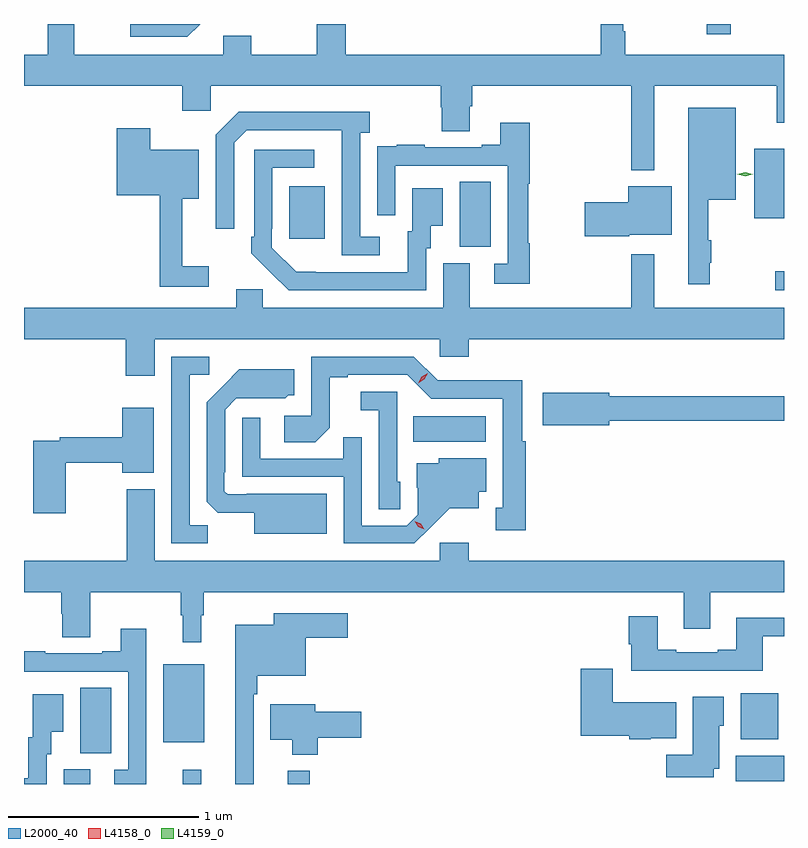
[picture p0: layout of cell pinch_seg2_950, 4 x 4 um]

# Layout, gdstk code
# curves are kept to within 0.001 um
import gdstk
lib = gdstk.Library(unit=1e-6, precision=1e-09)
def R(c, l, rs):  # rectangles x0, y0, x1, y1
    for r in rs: c.add(gdstk.rectangle(r[:2], r[2:], *l))
def P(c, l, *ps):  # polygons
    for p in ps: c.add(gdstk.Polygon(p, *l))
L2000_40 = (2000, 40)
L4158_0 = (4158, 0)
L4159_0 = (4159, 0)

pinch_seg2_950 = lib.new_cell('pinch_seg2_950')
R(pinch_seg2_950, L2000_40, [(322.673,638.634,322.813,638.712), (323.3,638.634,323.399,638.71), (323.852,638.634,323.969,638.704), (326.21,638.648,326.465,638.782), (322.76,638.797,322.924,639.14), (323.198,638.855,323.413,639.265), (326.237,638.87,326.434,639.112), (324.514,640.436,324.895,640.57), (326.418,641.232,326.465,641.333), (324.758,641.461,324.922,641.804), (323.861,641.505,324.049,641.779), (326.309,641.612,326.465,641.977), (326.058,642.579,326.186,642.634)])
P(pinch_seg2_950, L2000_40, [(325.783,642.308),(326.426,642.308),(326.426,642.114),(326.465,642.114),(326.465,642.472),(325.63,642.472),(325.63,642.596),(325.618,642.596),(325.618,642.634),(325.501,642.634),(325.501,642.472),(324.158,642.472),(324.158,642.634),(324.005,642.634),(324.005,642.472),(323.661,642.472),(323.661,642.571),(323.513,642.571),(323.513,642.472),(322.729,642.472),(322.729,642.634),(322.589,642.634),(322.589,642.472),(322.465,642.472),(322.465,642.308),(323.297,642.308),(323.297,642.177),(323.448,642.177),(323.448,642.308),(324.659,642.308),(324.659,642.195),(324.664,642.195),(324.664,642.07),(324.811,642.07),(324.811,642.202),(324.824,642.202),(324.824,642.308),(325.662,642.308),(325.662,641.864),(325.783,641.864)],
  [(323.392,642.634),(323.025,642.634),(323.025,642.567),(323.325,642.567)],
  [(326.075,641.377),(326.083,641.377),(326.083,641.495),(326.065,641.495),(326.065,641.708),(326.212,641.708),(326.212,642.193),(325.961,642.193),(325.961,641.265),(326.075,641.265)],
  [(324.337,641.514),(324.234,641.514),(324.234,642.062),(324.286,642.062),(324.286,642.172),(323.596,642.172),(323.475,642.051),(323.475,641.556),(323.571,641.556),(323.571,642.009),(323.637,642.075),(324.137,642.075),(324.138,641.418),(324.337,641.418)],
  [(325.127,641.48),(325.12,641.48),(325.12,641.792),(325.127,641.792),(325.127,642.115),(324.971,642.115),(324.971,641.998),(324.875,641.998),(324.875,641.985),(324.575,641.985),(324.575,641.998),(324.427,641.998),(324.427,641.991),(324.325,641.991),(324.325,641.882),(324.324,641.882),(324.324,641.628),(324.42,641.628),(324.42,641.889),(325.011,641.889),(325.011,641.373),(324.939,641.373),(324.939,641.268),(325.127,641.268)],
  [(323.437,641.359),(323.297,641.359),(323.297,641.714),(323.386,641.714),(323.386,641.971),(323.13,641.971),(323.13,642.085),(322.952,642.085),(322.952,641.732),(323.179,641.732),(323.179,641.25),(323.437,641.25)],
  [(324.582,641.454),(324.607,641.454),(324.607,641.573),(324.67,641.573),(324.67,641.77),(324.509,641.77),(324.509,641.544),(324.485,641.544),(324.485,641.328),(323.898,641.329),(323.769,641.457),(323.769,641.557),(323.772,641.557),(323.772,641.877),(323.992,641.877),(323.992,641.973),(323.676,641.973),(323.676,641.515),(323.661,641.515),(323.661,641.427),(323.858,641.232),(324.582,641.232)],
  [(325.65,641.525),(325.873,641.525),(325.873,641.779),(325.646,641.779),(325.646,641.696),(325.416,641.696),(325.416,641.518),(325.65,641.518)],
  [(323.152,640.976),(324.654,640.976),(324.654,640.883),(324.806,640.883),(324.806,640.976),(326.465,640.976),(326.465,641.14),(325.783,641.14),(325.783,641.422),(325.662,641.422),(325.662,641.14),(324.811,641.14),(324.811,641.376),(324.671,641.376),(324.671,641.14),(323.721,641.14),(323.721,641.238),(323.582,641.238),(323.582,641.14),(322.465,641.14),(322.465,640.976),(323,640.976),(323,640.782),(323.152,640.782)],
  [(323.433,639.995),(323.337,639.995),(323.337,640.788),(323.44,640.788),(323.44,640.884),(323.241,640.884),(323.241,639.9),(323.433,639.9)],
  [(325.105,640.439),(325.087,640.439),(325.087,640.76),(324.864,640.76),(324.864,640.758),(324.642,640.758),(324.516,640.884),(323.976,640.884),(323.976,640.572),(323.835,640.572),(323.835,640.432),(323.999,640.432),(324.075,640.508),(324.075,640.776),(324.169,640.776),(324.169,640.788),(324.483,640.788),(324.609,640.662),(324.986,640.662),(324.986,640.089),(324.947,640.089),(324.947,639.969),(325.105,639.969)],
  [(324.058,640.162),(323.638,640.162),(323.638,640.158),(323.538,640.158),(323.52,640.176),(323.52,640.276),(323.523,640.276),(323.523,640.605),(323.583,640.665),(323.84,640.664),(323.856,640.68),(323.887,640.68),(323.887,640.816),(323.599,640.816),(323.427,640.642),(323.427,640.12),(323.486,640.061),(323.678,640.061),(323.678,639.95),(324.058,639.95)],
  [(324.444,640.224),(324.429,640.224),(324.429,640.698),(324.237,640.698),(324.237,640.601),(324.333,640.601),(324.333,640.081),(324.444,640.081)],
  [(325.546,640.546),(326.465,640.546),(326.465,640.675),(325.546,640.675),(325.546,640.693),(325.194,640.693),(325.194,640.523),(325.546,640.523)],
  [(322.686,640.324),(322.982,640.324),(322.982,640.271),(323.149,640.271),(323.149,640.615),(322.982,640.615),(322.982,640.46),(322.654,640.46),(322.654,640.44),(322.513,640.44),(322.513,640.059),(322.686,640.059)],
  [(324.604,639.983),(324.707,640.085),(324.859,640.085),(324.859,640.172),(324.898,640.172),(324.898,640.348),(324.648,640.348),(324.648,640.321),(324.533,640.321),(324.533,640.192),(324.537,640.192),(324.537,640.05),(324.48,639.993),(324.243,639.993),(324.243,640.46),(324.145,640.46),(324.145,640.347),(323.709,640.347),(323.709,640.561),(323.613,640.561),(323.613,640.251),(324.147,640.251),(324.147,639.9),(324.52,639.9)],
  [(323.398,639.521),(323.41,639.521),(323.41,639.644),(325.937,639.644),(325.937,639.45),(326.077,639.45),(326.077,639.644),(326.465,639.644),(326.465,639.808),(324.806,639.808),(324.806,639.904),(324.654,639.904),(324.654,639.808),(323.152,639.808),(323.152,640.186),(323.005,640.186),(323.005,639.808),(322.465,639.808),(322.465,639.644),(322.661,639.644),(322.661,639.531),(322.666,639.531),(322.666,639.406),(322.813,639.406),(322.813,639.644),(323.289,639.644),(323.289,639.521),(323.3,639.521),(323.3,639.381),(323.398,639.381)],
  [(323.673,639.107),(323.693,639.107),(323.693,639.203),(323.947,639.203),(323.947,639.403),(324.169,639.403),(324.169,639.532),(323.78,639.532),(323.78,639.472),(323.576,639.472),(323.576,638.634),(323.673,638.634)],
  [(326.353,639.411),(326.465,639.411),(326.465,639.508),(326.213,639.508),(326.213,639.34),(326.117,639.34),(326.117,639.327),(325.897,639.327),(325.897,639.34),(325.801,639.34),(325.801,639.517),(325.649,639.517),(325.649,639.369),(325.661,639.369),(325.661,639.23),(326.353,639.23)],
  [(323.109,639.451),(322.973,639.451),(322.973,639.334),(322.877,639.334),(322.877,639.321),(322.577,639.321),(322.577,639.334),(322.465,639.334),(322.465,639.225),(323.013,639.225),(323.013,638.709),(322.941,638.709),(322.941,638.634),(323.109,638.634)],
  [(325.764,638.876),(325.897,638.876),(325.897,639.064),(325.564,639.064),(325.564,639.241),(325.394,639.241),(325.394,638.888),(325.65,638.888),(325.65,638.87),(325.764,638.87)],
  [(322.584,638.79),(322.609,638.79),(322.609,638.909),(322.672,638.909),(322.672,639.106),(322.511,639.106),(322.511,638.88),(322.487,638.88),(322.487,638.664),(322.465,638.664),(322.465,638.634),(322.584,638.634)],
  [(326.095,638.714),(326.125,638.714),(326.125,638.94),(326.149,638.94),(326.149,639.094),(325.985,639.094),(325.985,638.788),(325.846,638.788),(325.846,638.67),(326.095,638.67)],
  [(324.011,638.878),(324.241,638.878),(324.241,639.015),(323.998,639.015),(323.998,639.055),(323.762,639.055),(323.762,638.867),(323.876,638.867),(323.876,638.789),(324.011,638.789)])
P(pinch_seg2_950, L4158_0, [(324.541,640.744),(324.541,640.744),(324.558,640.777),(324.589,640.796),(324.589,640.796),(324.589,640.796),(324.572,640.763),(324.541,640.744)],
  [(324.571,639.975),(324.54,639.989),(324.522,640.018),(324.522,640.018),(324.522,640.018),(324.553,640.004),(324.571,639.975),(324.571,639.975)])
P(pinch_seg2_950, L4159_0, [(326.26,641.834),(326.219,641.844),(326.219,641.844),(326.219,641.844),(326.26,641.854),(326.301,641.844),(326.301,641.844),(326.301,641.844)])

lib.write_gds('pinch_seg2_950.gds')
